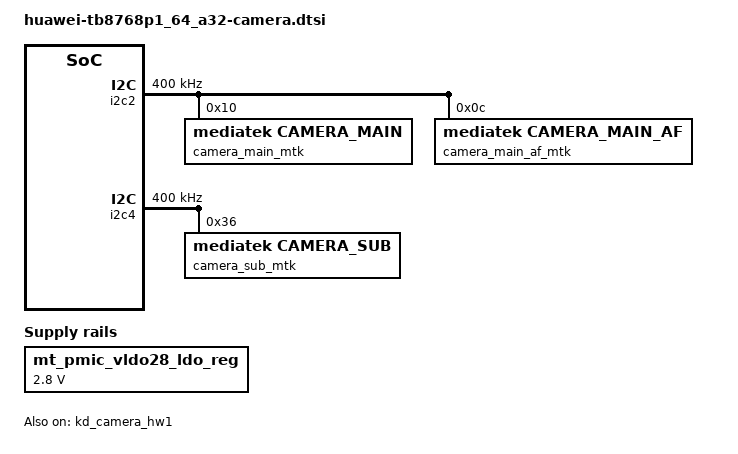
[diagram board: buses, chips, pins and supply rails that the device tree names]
/* Camera start */
&mt_pmic_vldo28_ldo_reg {
        regulator-min-microvolt = <2800000>;
        regulator-max-microvolt = <2800000>;
        regulator-default-on = <2>; /* 0:skip, 1: off, 2:on */
        regulator-always-on;
        regulator-boot-on;
};

&i2c2 {
	#address-cells = <1>;
	#size-cells = <0>;
	clock-frequency = <400000>;
	mediatek,use-open-drain;
	camera_main_mtk:camera_main@10 {
		compatible = "mediatek,camera_main";
		reg = <0x10>;
		status = "okay";
	};
	camera_main_af_mtk:camera_main_af@0c {
		compatible = "mediatek,camera_main_af";
		reg = <0x0c>;
		status = "okay";
	};
};

&i2c4 {
	#address-cells = <1>;
	#size-cells = <0>;
	clock-frequency = <400000>;
	mediatek,use-open-drain;
	camera_sub_mtk:camera_sub@36 {
		compatible = "mediatek,camera_sub";
		reg = <0x36>;
		status = "okay";
	};
};

&pio {
	camera_pins_cam0_mclk_on: camera_pins_cam0_mclk_on {
		pins_cmd_dat {
			pinmux = <PINMUX_GPIO99__FUNC_CMMCLK0>;
		};
	};
	camera_pins_cam0_mclk_off: camera_pins_cam0_mclk_off {
		pins_cmd_dat {
			pinmux = <PINMUX_GPIO99__FUNC_GPIO99>;
		};
	};
	camera_pins_cam1_mclk_on: camera_pins_cam1_mclk_on {
		pins_cmd_dat {
			pinmux = <PINMUX_GPIO100__FUNC_CMMCLK1>;
		};
	};
	camera_pins_cam1_mclk_off: camera_pins_cam1_mclk_off {
		pins_cmd_dat {
			pinmux = <PINMUX_GPIO100__FUNC_GPIO100>;
		};
	};
	camera_pins_cam0_rst0: cam0@0 {
		pins_cmd_dat {
			pinmux = <PINMUX_GPIO101__FUNC_GPIO101>;
			slew-rate = <1>;
			output-low;
		};
	};
	camera_pins_cam0_rst1: cam0@1 {
		pins_cmd_dat {
			pinmux = <PINMUX_GPIO101__FUNC_GPIO101>;
			slew-rate = <1>;
			output-high;
		};
	};
	camera_pins_cam0_pnd0: cam0@2 {
		pins_cmd_dat {
			pinmux = <PINMUX_GPIO97__FUNC_GPIO97>;
			slew-rate = <1>;
			output-low;
		};
	};
	camera_pins_cam0_pnd1: cam0@3 {
		pins_cmd_dat {
			pinmux = <PINMUX_GPIO97__FUNC_GPIO97>;
			slew-rate = <1>;
			output-high;
		};
	};
	camera_pins_cam1_pnd0: cam1@2 {
		pins_cmd_dat {
			pinmux = <PINMUX_GPIO98__FUNC_GPIO98>;
			slew-rate = <1>;
			output-low;
		};
	};
	camera_pins_cam1_pnd1: cam1@3 {
		pins_cmd_dat {
			pinmux = <PINMUX_GPIO98__FUNC_GPIO98>;
			slew-rate = <1>;
			output-high;
		};
	};
	camera_pins_default: camdefault {
	};
};

/*
 * cam0 back main camera; cam1 front camera;
 */
&kd_camera_hw1 {
	pinctrl-names = "default",
			"cam0_rst0",
			"cam0_rst1",
			"cam0_pnd0",
			"cam0_pnd1",
			"cam1_pnd0",
			"cam1_pnd1",
			"cam0_mclk_on",
			"cam0_mclk_off",
			"cam1_mclk_on",
			"cam1_mclk_off";

	pinctrl-0 = <&camera_pins_default>;
	pinctrl-1 = <&camera_pins_cam0_rst0>;
	pinctrl-2 = <&camera_pins_cam0_rst1>;
	pinctrl-3 = <&camera_pins_cam0_pnd0>;
	pinctrl-4 = <&camera_pins_cam0_pnd1>;
	pinctrl-5 = <&camera_pins_cam1_pnd0>;
	pinctrl-6 = <&camera_pins_cam1_pnd1>;
	pinctrl-7 = <&camera_pins_cam0_mclk_on>;
	pinctrl-8 = <&camera_pins_cam0_mclk_off>;
	pinctrl-9 = <&camera_pins_cam1_mclk_on>;
	pinctrl-10 = <&camera_pins_cam1_mclk_off>;

	/* back camera vreg */
	cam0_vcama-supply = <&mt_pmic_vcama_ldo_reg>;
	cam0_vcamd-supply = <&mt_pmic_vcamd_ldo_reg>;
	cam0_vcamio-supply = <&mt_pmic_vcamio_ldo_reg>;
	cam0_vcamaf-supply = <&mt_pmic_vldo28_ldo_reg>;

	/* front camera vreg */
	cam1_vcama-supply = <&mt_pmic_vcama_ldo_reg>;
	cam1_vcamd-supply = <&mt_pmic_vcamd_ldo_reg>;
	cam1_vcamio-supply = <&mt_pmic_vcamio_ldo_reg>;

	cam0_enable_sensor = "hi556_mipi_raw gc5035p_mipi_raw gc5035p_qunhui_mipi_raw";
	cam1_enable_sensor = "gc2375h_mipi_raw bf2253_mipi_raw gc02m1_mipi_raw";
	status = "okay";
};
/* Camera end */
